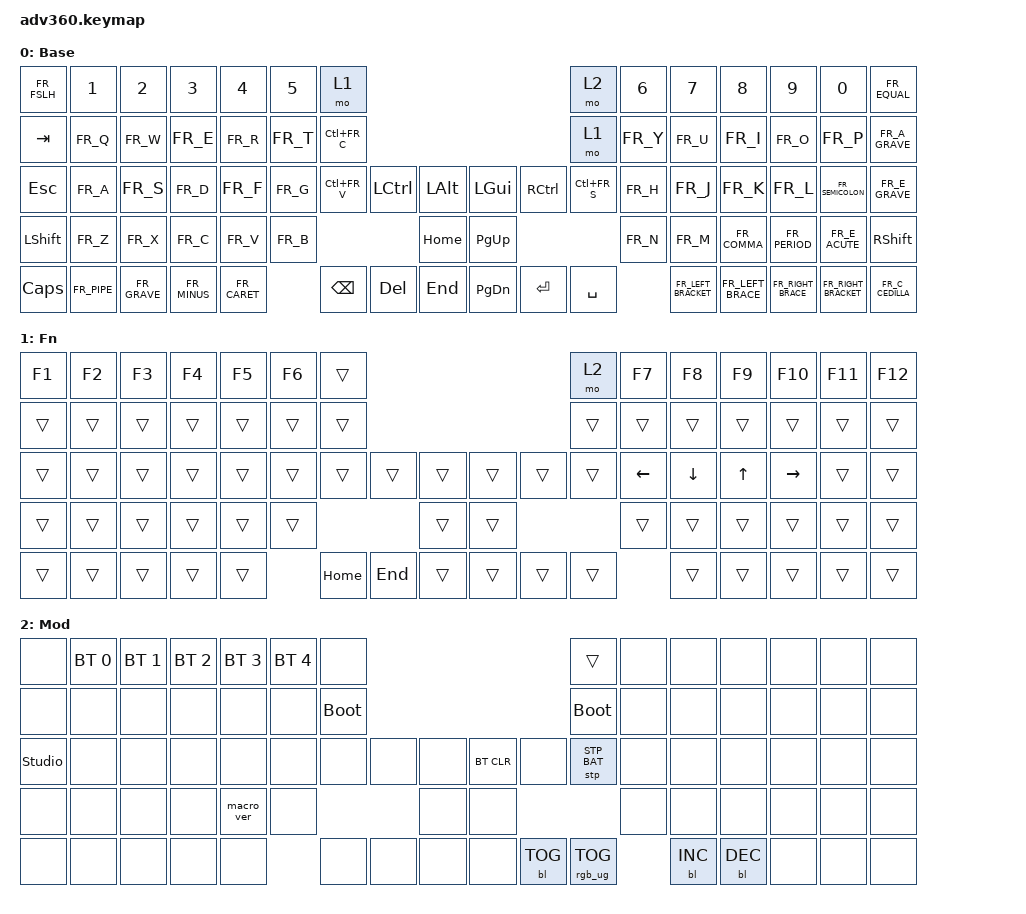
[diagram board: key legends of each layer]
#include <dt-bindings/zmk/stp.h>
#include <behaviors.dtsi>
#include <dt-bindings/zmk/backlight.h>
#include <dt-bindings/zmk/bt.h>
#include <dt-bindings/zmk/keys.h>
#include <dt-bindings/zmk/rgb.h>
#include "keys_fr_canadian_standard.h"

/ {
    behaviors {
        #include "macros.dtsi"
      #include "version.dtsi"

        hm: homerow_mods {
            compatible = "zmk,behavior-hold-tap";
            label = "HOMEROW_MODS";
            #binding-cells = <2>;
            tapping-term-ms = <200>;
            quick_tap_ms = <175>;
            flavor = "tap-preferred";
            bindings = <&kp>, <&kp>;
        };
    };

    keymap {
        compatible = "zmk,keymap";

        default_layer {
            display-name = "Base";
            bindings = <
&kp FR_FSLH  &kp N1       &kp N2        &kp N3        &kp N4        &kp N5    &mo 1                                                        &mo 2         &kp N6    &kp N7               &kp N8             &kp N9              &kp N0                &kp FR_EQUAL
&kp TAB      &kp FR_Q     &kp FR_W      &kp FR_E      &kp FR_R      &kp FR_T  &kp LC(FR_C)                                                 &mo 1         &kp FR_Y  &kp FR_U             &kp FR_I           &kp FR_O            &kp FR_P              &kp FR_A_GRAVE
&kp ESC      &kp FR_A     &kp FR_S      &kp FR_D      &kp FR_F      &kp FR_G  &kp LC(FR_V)  &kp LCTRL  &kp LALT      &kp LGUI   &kp RCTRL  &kp LC(FR_S)  &kp FR_H  &kp FR_J             &kp FR_K           &kp FR_L            &kp FR_SEMICOLON      &kp FR_E_GRAVE
&kp LSHFT    &kp FR_Z     &kp FR_X      &kp FR_C      &kp FR_V      &kp FR_B                           &kp HOME      &kp PG_UP                           &kp FR_N  &kp FR_M             &kp FR_COMMA       &kp FR_PERIOD       &kp FR_E_ACUTE        &kp RSHFT
&kp CAPS     &kp FR_PIPE  &kp FR_GRAVE  &kp FR_MINUS  &kp FR_CARET            &kp BSPC      &kp DEL    &kp END       &kp PG_DN  &kp ENTER  &kp SPACE               &kp FR_LEFT_BRACKET  &kp FR_LEFT_BRACE  &kp FR_RIGHT_BRACE  &kp FR_RIGHT_BRACKET  &kp FR_C_CEDILLA
            >;
        };

        fn {
            display-name = "Fn";
            bindings = <
&kp F1  &kp F2  &kp F3  &kp F4  &kp F5  &kp F6  &trans                                         &mo 2   &kp F7    &kp F8    &kp F9  &kp F10    &kp F11  &kp F12
&trans  &trans  &trans  &trans  &trans  &trans  &trans                                         &trans  &trans    &trans    &trans  &trans     &trans   &trans
&trans  &trans  &trans  &trans  &trans  &trans  &trans    &trans   &trans      &trans  &trans  &trans  &kp LEFT  &kp DOWN  &kp UP  &kp RIGHT  &trans   &trans
&trans  &trans  &trans  &trans  &trans  &trans                     &trans      &trans                  &trans    &trans    &trans  &trans     &trans   &trans
&trans  &trans  &trans  &trans  &trans          &kp HOME  &kp END  &trans      &trans  &trans  &trans            &trans    &trans  &trans     &trans   &trans
            >;
        };

        mod {
            display-name = "Mod";
            bindings = <
&none           &bt BT_SEL 0  &bt BT_SEL 1  &bt BT_SEL 2  &bt BT_SEL 3  &bt BT_SEL 4  &none                                                  &trans           &none  &none       &none       &none  &none  &none
&none           &none         &none         &none         &none         &none         &bootloader                                            &bootloader      &none  &none       &none       &none  &none  &none
&studio_unlock  &none         &none         &none         &none         &none         &none        &none  &none      &bt BT_CLR  &none       &stp STP_BAT     &none  &none       &none       &none  &none  &none
&none           &none         &none         &none         &macro_ver    &none                             &none      &none                                    &none  &none       &none       &none  &none  &none
&none           &none         &none         &none         &none                       &none        &none  &none      &none       &bl BL_TOG  &rgb_ug RGB_TOG         &bl BL_INC  &bl BL_DEC  &none  &none  &none
            >;
        };

        extra1 {
            display-name = "Red";
            status = "reserved";
        };

        extra2 {
            display-name = "Purple";
            status = "reserved";
        };

        extra3 {
            display-name = "Cyan";
            status = "reserved";
        };

        extra4 {
            display-name = "Yellow";
            status = "reserved";
        };
    };
};
